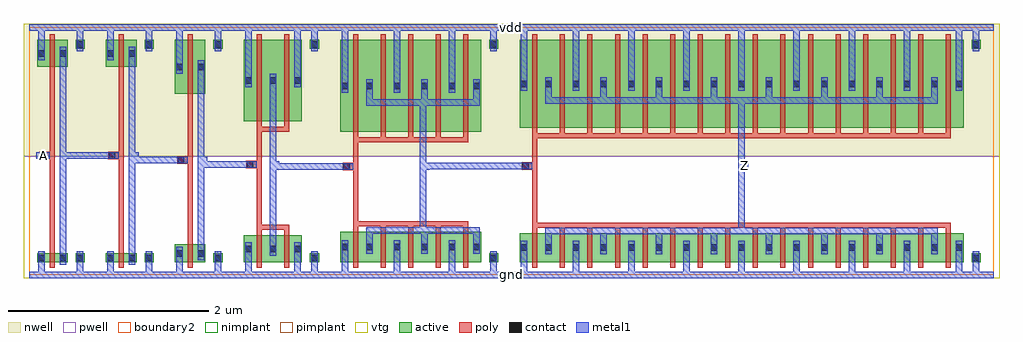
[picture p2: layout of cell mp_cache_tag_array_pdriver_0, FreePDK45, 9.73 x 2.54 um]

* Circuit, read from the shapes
.subckt mp_cache_tag_array_pdriver_0 A Z gnd vdd
M1 mp_cache_tag_array_pinv_6_1/A A gnd gnd nfet w=0.09u l=0.05u
M2 mp_cache_tag_array_pinv_7_2/A mp_cache_tag_array_pinv_6_1/A gnd gnd nfet w=0.09u l=0.05u
M3 mp_cache_tag_array_pinv_8_3/A mp_cache_tag_array_pinv_7_2/A gnd gnd nfet w=0.18u l=0.05u
M4 mp_cache_tag_array_pinv_9_4/A mp_cache_tag_array_pinv_8_3/A gnd gnd nfet w=0.27u l=0.05u m=2
M5 mp_cache_tag_array_pinv_10_5/A mp_cache_tag_array_pinv_9_4/A gnd gnd nfet w=0.305u l=0.05u m=5
M6 Z mp_cache_tag_array_pinv_10_5/A gnd gnd nfet w=0.2925u l=0.05u m=16
M7 mp_cache_tag_array_pinv_6_1/A A vdd vdd pfet w=0.27u l=0.05u
M8 mp_cache_tag_array_pinv_7_2/A mp_cache_tag_array_pinv_6_1/A vdd vdd pfet w=0.27u l=0.05u
M9 mp_cache_tag_array_pinv_8_3/A mp_cache_tag_array_pinv_7_2/A vdd vdd pfet w=0.54u l=0.05u
M10 mp_cache_tag_array_pinv_9_4/A mp_cache_tag_array_pinv_8_3/A vdd vdd pfet w=0.81u l=0.05u m=2
M11 mp_cache_tag_array_pinv_10_5/A mp_cache_tag_array_pinv_9_4/A vdd vdd pfet w=0.9175u l=0.05u m=5
M12 Z mp_cache_tag_array_pinv_10_5/A vdd vdd pfet w=0.8775u l=0.05u m=16
.ends

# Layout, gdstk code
import gdstk
lib = gdstk.Library(unit=1e-6, precision=5e-10)
def R(c, l, rs):  # rectangles x0, y0, x1, y1
    for r in rs: c.add(gdstk.rectangle(r[:2], r[2:], *l))
def A(c, l, x, y, w, h, nx, ny, dx, dy):  # array of equal rectangles
    R(c, l, [(x+i*dx, y+j*dy, x+i*dx+w, y+j*dy+h) for i in range(nx) for j in range(ny)])
active = (1, 0)
pwell = (2, 0)
nwell = (3, 0)
nimplant = (4, 0)
pimplant = (5, 0)
vtg = (6, 0)
poly = (9, 0)
contact = (10, 0)
metal1 = (11, 0)
boundary2 = (239, 0)

mp_cache_tag_array_conta = lib.new_cell('mp_cache_tag_array_contact_11')
R(mp_cache_tag_array_conta, active, [(0,0.0225,0.09,0.1125)])
R(mp_cache_tag_array_conta, nwell, [(-0.055,-0.0325,0.145,0.1675)])
R(mp_cache_tag_array_conta, pimplant, [(0,0.0225,0.09,0.1125)])
R(mp_cache_tag_array_conta, contact, [(0.0125,0.035,0.0775,0.1)])
R(mp_cache_tag_array_conta, metal1, [(0.0125,0,0.0775,0.135)])
R(mp_cache_tag_array_conta, boundary2, [(-0.055,-0.0325,0.145,0.1675)])

mp_cache_tag_array_pmos_ = lib.new_cell('mp_cache_tag_array_pmos_m1_w0_270_sm1_dm1_da_p')
R(mp_cache_tag_array_pmos_, active, [(0,0,0.305,0.27)])
R(mp_cache_tag_array_pmos_, nwell, [(-0.08,-0.08,0.385,0.35)])
R(mp_cache_tag_array_pmos_, pimplant, [(0,0,0.305,0.27)])
R(mp_cache_tag_array_pmos_, vtg, [(-0.08,-0.08,0.385,0.35)])
R(mp_cache_tag_array_pmos_, poly, [(0.1275,-0.055,0.1775,0.325), (0.1275,-0.055,0.1775,0.325)])
R(mp_cache_tag_array_pmos_, metal1, [(0.0125,0.0675,0.0775,0.2025), (0.2275,0.0675,0.2925,0.2025)])
R(mp_cache_tag_array_pmos_, boundary2, [(-0.08,-0.08,0.385,0.35)])
mp_cache_tag_array_pmos_.add(gdstk.Reference(mp_cache_tag_array_conta, (0,0.0675)))
mp_cache_tag_array_pmos_.add(gdstk.Reference(mp_cache_tag_array_conta, (0.215,0.0675)))
mp_cache_tag_array_pmos_.add(gdstk.Label('G', (0.1525,0.135), layer=9, texttype=0))
mp_cache_tag_array_pmos_.add(gdstk.Label('S', (0.045,0.135), layer=11, texttype=0))
mp_cache_tag_array_pmos_.add(gdstk.Label('D', (0.26,0.135), layer=11, texttype=0))

c_mp_cache_tag_array_conta = lib.new_cell('mp_cache_tag_array_contact_10')
R(c_mp_cache_tag_array_conta, active, [(0,0.0225,0.09,0.1125)])
R(c_mp_cache_tag_array_conta, pwell, [(-0.055,-0.0325,0.145,0.1675)])
R(c_mp_cache_tag_array_conta, nimplant, [(0,0.0225,0.09,0.1125)])
R(c_mp_cache_tag_array_conta, contact, [(0.0125,0.035,0.0775,0.1)])
R(c_mp_cache_tag_array_conta, metal1, [(0.0125,0,0.0775,0.135)])
R(c_mp_cache_tag_array_conta, boundary2, [(-0.055,-0.0325,0.145,0.1675)])

mp_cache_tag_array_nmos_ = lib.new_cell('mp_cache_tag_array_nmos_m1_w0_090_sm1_dm1_da_p')
R(mp_cache_tag_array_nmos_, active, [(0,0,0.305,0.09)])
R(mp_cache_tag_array_nmos_, pwell, [(-0.08,-0.08,0.385,0.17)])
R(mp_cache_tag_array_nmos_, nimplant, [(0,0,0.305,0.09)])
R(mp_cache_tag_array_nmos_, vtg, [(-0.08,-0.08,0.385,0.17)])
R(mp_cache_tag_array_nmos_, poly, [(0.1275,-0.055,0.1775,0.145), (0.1275,-0.055,0.1775,0.145)])
R(mp_cache_tag_array_nmos_, metal1, [(0.0125,-0.0225,0.0775,0.1125), (0.2275,-0.0225,0.2925,0.1125)])
R(mp_cache_tag_array_nmos_, boundary2, [(-0.08,-0.08,0.385,0.17)])
mp_cache_tag_array_nmos_.add(gdstk.Reference(c_mp_cache_tag_array_conta, (0,-0.0225)))
mp_cache_tag_array_nmos_.add(gdstk.Reference(c_mp_cache_tag_array_conta, (0.215,-0.0225)))
mp_cache_tag_array_nmos_.add(gdstk.Label('G', (0.1525,0.045), layer=9, texttype=0))
mp_cache_tag_array_nmos_.add(gdstk.Label('S', (0.045,0.045), layer=11, texttype=0))
mp_cache_tag_array_nmos_.add(gdstk.Label('D', (0.26,0.045), layer=11, texttype=0))

c_mp_cache_tag_array_conta_ = lib.new_cell('mp_cache_tag_array_contact_12')
R(c_mp_cache_tag_array_conta_, active, [(0,0.0225,0.09,0.1125)])
R(c_mp_cache_tag_array_conta_, nwell, [(-0.055,-0.0325,0.145,0.1675)])
R(c_mp_cache_tag_array_conta_, nimplant, [(0,0.0225,0.09,0.1125)])
R(c_mp_cache_tag_array_conta_, contact, [(0.0125,0.035,0.0775,0.1)])
R(c_mp_cache_tag_array_conta_, metal1, [(0.0125,0,0.0775,0.135)])
R(c_mp_cache_tag_array_conta_, boundary2, [(-0.055,-0.0325,0.145,0.1675)])

c_mp_cache_tag_array_conta__ = lib.new_cell('mp_cache_tag_array_contact_13')
R(c_mp_cache_tag_array_conta__, active, [(0,0.0225,0.09,0.1125)])
R(c_mp_cache_tag_array_conta__, pwell, [(-0.055,-0.0325,0.145,0.1675)])
R(c_mp_cache_tag_array_conta__, pimplant, [(0,0.0225,0.09,0.1125)])
R(c_mp_cache_tag_array_conta__, contact, [(0.0125,0.035,0.0775,0.1)])
R(c_mp_cache_tag_array_conta__, metal1, [(0.0125,0,0.0775,0.135)])
R(c_mp_cache_tag_array_conta__, boundary2, [(-0.055,-0.0325,0.145,0.1675)])

c_mp_cache_tag_array_conta___ = lib.new_cell('mp_cache_tag_array_contact_14')
R(c_mp_cache_tag_array_conta___, poly, [(0.03,0,0.105,0.075)])
R(c_mp_cache_tag_array_conta___, contact, [(0.035,0.005,0.1,0.07)])
R(c_mp_cache_tag_array_conta___, metal1, [(0,0.005,0.135,0.07)])
R(c_mp_cache_tag_array_conta___, boundary2, [(0,0,0.135,0.075)])

mp_cache_tag_array_pinv_ = lib.new_cell('mp_cache_tag_array_pinv_6')
R(mp_cache_tag_array_pinv_, pwell, [(-0.055,-0.0325,0.7425,1.185)])
R(mp_cache_tag_array_pinv_, nwell, [(-0.055,1.185,0.7425,2.505)])
R(mp_cache_tag_array_pinv_, vtg, [(-0.055,-0.0325,0.7425,1.185), (-0.055,1.185,0.7425,2.505)])
R(mp_cache_tag_array_pinv_, poly, [(0.2075,0.27,0.2575,2.02), (0.14,1.1525,0.2075,1.2275)])
R(mp_cache_tag_array_pinv_, metal1, [(0,-0.0325,0.6875,0.0325), (0.0925,-0.0325,0.1575,0.1025), (0.4775,0,0.5425,0.17), (0.3075,0.1025,0.3725,2.2775), (0.0725,1.1575,0.2075,1.2225), (0.34,1.1575,0.405,1.2225), (0.0925,2.1425,0.1575,2.5025), (0.4775,2.3,0.5425,2.47), (0,2.4375,0.6875,2.5025)])
R(mp_cache_tag_array_pinv_, boundary2, [(0,0,0.6875,2.47), (0,0,0.6875,2.47)])
mp_cache_tag_array_pinv_.add(gdstk.Reference(mp_cache_tag_array_pmos_, (0.08,2.075)))
mp_cache_tag_array_pinv_.add(gdstk.Reference(mp_cache_tag_array_nmos_, (0.08,0.125)))
mp_cache_tag_array_pinv_.add(gdstk.Reference(c_mp_cache_tag_array_conta_, (0.465,2.2325)))
mp_cache_tag_array_pinv_.add(gdstk.Reference(c_mp_cache_tag_array_conta__, (0.465,0.1025)))
mp_cache_tag_array_pinv_.add(gdstk.Reference(c_mp_cache_tag_array_conta___, (0.0725,1.1525)))
mp_cache_tag_array_pinv_.add(gdstk.Label('A', (0.14,1.19), layer=11, texttype=0))
mp_cache_tag_array_pinv_.add(gdstk.Label('Z', (0.3725,1.19), layer=11, texttype=0))
mp_cache_tag_array_pinv_.add(gdstk.Label('gnd', (0.344,0), layer=11, texttype=0))
mp_cache_tag_array_pinv_.add(gdstk.Label('vdd', (0.344,2.47), layer=11, texttype=0))

c_mp_cache_tag_array_pmos_ = lib.new_cell('mp_cache_tag_array_pmos_m1_w0_540_sm1_dm1_da_p')
R(c_mp_cache_tag_array_pmos_, active, [(0,0,0.305,0.54)])
R(c_mp_cache_tag_array_pmos_, nwell, [(-0.08,-0.08,0.385,0.62)])
R(c_mp_cache_tag_array_pmos_, pimplant, [(0,0,0.305,0.54)])
R(c_mp_cache_tag_array_pmos_, vtg, [(-0.08,-0.08,0.385,0.62)])
R(c_mp_cache_tag_array_pmos_, poly, [(0.1275,-0.055,0.1775,0.595), (0.1275,-0.055,0.1775,0.595)])
R(c_mp_cache_tag_array_pmos_, metal1, [(0.0125,0.2025,0.0775,0.3375), (0.2275,0.2025,0.2925,0.3375)])
R(c_mp_cache_tag_array_pmos_, boundary2, [(-0.08,-0.08,0.385,0.62)])
c_mp_cache_tag_array_pmos_.add(gdstk.Reference(mp_cache_tag_array_conta, (0,0.2025)))
c_mp_cache_tag_array_pmos_.add(gdstk.Reference(mp_cache_tag_array_conta, (0.215,0.2025)))
c_mp_cache_tag_array_pmos_.add(gdstk.Label('G', (0.1525,0.27), layer=9, texttype=0))
c_mp_cache_tag_array_pmos_.add(gdstk.Label('S', (0.045,0.27), layer=11, texttype=0))
c_mp_cache_tag_array_pmos_.add(gdstk.Label('D', (0.26,0.27), layer=11, texttype=0))

c_mp_cache_tag_array_nmos_ = lib.new_cell('mp_cache_tag_array_nmos_m1_w0_180_sm1_dm1_da_p')
R(c_mp_cache_tag_array_nmos_, active, [(0,0,0.305,0.18)])
R(c_mp_cache_tag_array_nmos_, pwell, [(-0.08,-0.08,0.385,0.26)])
R(c_mp_cache_tag_array_nmos_, nimplant, [(0,0,0.305,0.18)])
R(c_mp_cache_tag_array_nmos_, vtg, [(-0.08,-0.08,0.385,0.26)])
R(c_mp_cache_tag_array_nmos_, poly, [(0.1275,-0.055,0.1775,0.235), (0.1275,-0.055,0.1775,0.235)])
R(c_mp_cache_tag_array_nmos_, metal1, [(0.0125,0.0225,0.0775,0.1575), (0.2275,0.0225,0.2925,0.1575)])
R(c_mp_cache_tag_array_nmos_, boundary2, [(-0.08,-0.08,0.385,0.26)])
c_mp_cache_tag_array_nmos_.add(gdstk.Reference(c_mp_cache_tag_array_conta, (0,0.0225)))
c_mp_cache_tag_array_nmos_.add(gdstk.Reference(c_mp_cache_tag_array_conta, (0.215,0.0225)))
c_mp_cache_tag_array_nmos_.add(gdstk.Label('G', (0.1525,0.09), layer=9, texttype=0))
c_mp_cache_tag_array_nmos_.add(gdstk.Label('S', (0.045,0.09), layer=11, texttype=0))
c_mp_cache_tag_array_nmos_.add(gdstk.Label('D', (0.26,0.09), layer=11, texttype=0))

c_mp_cache_tag_array_pinv_ = lib.new_cell('mp_cache_tag_array_pinv_7')
R(c_mp_cache_tag_array_pinv_, pwell, [(-0.055,-0.0325,0.7425,1.185)])
R(c_mp_cache_tag_array_pinv_, nwell, [(-0.055,1.185,0.7425,2.505)])
R(c_mp_cache_tag_array_pinv_, vtg, [(-0.055,-0.0325,0.7425,1.185), (-0.055,1.185,0.7425,2.505)])
R(c_mp_cache_tag_array_pinv_, poly, [(0.2075,0.36,0.2575,1.75), (0.14,1.1075,0.2075,1.1825)])
R(c_mp_cache_tag_array_pinv_, metal1, [(0,-0.0325,0.6875,0.0325), (0.0925,-0.0325,0.1575,0.1475), (0.4775,0,0.5425,0.17), (0.3075,0.1475,0.3725,2.1425), (0.0725,1.1125,0.2075,1.1775), (0.34,1.1125,0.405,1.1775), (0.0925,2.0075,0.1575,2.5025), (0.4775,2.3,0.5425,2.47), (0,2.4375,0.6875,2.5025)])
R(c_mp_cache_tag_array_pinv_, boundary2, [(0,0,0.6875,2.47), (0,0,0.6875,2.47)])
c_mp_cache_tag_array_pinv_.add(gdstk.Reference(c_mp_cache_tag_array_pmos_, (0.08,1.805)))
c_mp_cache_tag_array_pinv_.add(gdstk.Reference(c_mp_cache_tag_array_nmos_, (0.08,0.125)))
c_mp_cache_tag_array_pinv_.add(gdstk.Reference(c_mp_cache_tag_array_conta_, (0.465,2.2325)))
c_mp_cache_tag_array_pinv_.add(gdstk.Reference(c_mp_cache_tag_array_conta__, (0.465,0.1025)))
c_mp_cache_tag_array_pinv_.add(gdstk.Reference(c_mp_cache_tag_array_conta___, (0.0725,1.1075)))
c_mp_cache_tag_array_pinv_.add(gdstk.Label('A', (0.14,1.145), layer=11, texttype=0))
c_mp_cache_tag_array_pinv_.add(gdstk.Label('Z', (0.3725,1.145), layer=11, texttype=0))
c_mp_cache_tag_array_pinv_.add(gdstk.Label('gnd', (0.344,0), layer=11, texttype=0))
c_mp_cache_tag_array_pinv_.add(gdstk.Label('vdd', (0.344,2.47), layer=11, texttype=0))

c_mp_cache_tag_array_pmos__ = lib.new_cell('mp_cache_tag_array_pmos_m2_w0_810_sm1_dm1_da_p')
R(c_mp_cache_tag_array_pmos__, active, [(0,0,0.58,0.81)])
R(c_mp_cache_tag_array_pmos__, nwell, [(-0.08,-0.08,0.66,0.89)])
R(c_mp_cache_tag_array_pmos__, pimplant, [(0,0,0.58,0.81)])
R(c_mp_cache_tag_array_pmos__, vtg, [(-0.08,-0.08,0.66,0.89)])
R(c_mp_cache_tag_array_pmos__, poly, [(0.1275,-0.105,0.4525,-0.055), (0.1275,-0.055,0.1775,0.865), (0.4025,-0.055,0.4525,0.865)])
A(c_mp_cache_tag_array_pmos__, metal1, 0.0125, 0.3375, 0.065, 0.135, 3, 1, 0.245, 0)
R(c_mp_cache_tag_array_pmos__, boundary2, [(-0.08,-0.105,0.66,0.89)])
c_mp_cache_tag_array_pmos__.add(gdstk.Reference(mp_cache_tag_array_conta, (0,0.3375)))
c_mp_cache_tag_array_pmos__.add(gdstk.Reference(mp_cache_tag_array_conta, (0.245,0.3375)))
c_mp_cache_tag_array_pmos__.add(gdstk.Reference(mp_cache_tag_array_conta, (0.49,0.3375)))
c_mp_cache_tag_array_pmos__.add(gdstk.Label('G', (0.29,-0.08), layer=9, texttype=0))
c_mp_cache_tag_array_pmos__.add(gdstk.Label('S', (0.045,0.405), layer=11, texttype=0))
c_mp_cache_tag_array_pmos__.add(gdstk.Label('S', (0.535,0.405), layer=11, texttype=0))
c_mp_cache_tag_array_pmos__.add(gdstk.Label('D', (0.29,0.405), layer=11, texttype=0))

c_mp_cache_tag_array_nmos__ = lib.new_cell('mp_cache_tag_array_nmos_m2_w0_270_sm1_dm1_da_p')
R(c_mp_cache_tag_array_nmos__, active, [(0,0,0.58,0.27)])
R(c_mp_cache_tag_array_nmos__, pwell, [(-0.08,-0.08,0.66,0.35)])
R(c_mp_cache_tag_array_nmos__, nimplant, [(0,0,0.58,0.27)])
R(c_mp_cache_tag_array_nmos__, vtg, [(-0.08,-0.08,0.66,0.35)])
R(c_mp_cache_tag_array_nmos__, poly, [(0.1275,-0.055,0.1775,0.325), (0.4025,-0.055,0.4525,0.325), (0.1275,0.325,0.4525,0.375)])
A(c_mp_cache_tag_array_nmos__, metal1, 0.0125, 0.0675, 0.065, 0.135, 3, 1, 0.245, 0)
R(c_mp_cache_tag_array_nmos__, boundary2, [(-0.08,-0.08,0.66,0.375)])
c_mp_cache_tag_array_nmos__.add(gdstk.Reference(c_mp_cache_tag_array_conta, (0,0.0675)))
c_mp_cache_tag_array_nmos__.add(gdstk.Reference(c_mp_cache_tag_array_conta, (0.245,0.0675)))
c_mp_cache_tag_array_nmos__.add(gdstk.Reference(c_mp_cache_tag_array_conta, (0.49,0.0675)))
c_mp_cache_tag_array_nmos__.add(gdstk.Label('G', (0.29,0.35), layer=9, texttype=0))
c_mp_cache_tag_array_nmos__.add(gdstk.Label('S', (0.535,0.135), layer=11, texttype=0))
c_mp_cache_tag_array_nmos__.add(gdstk.Label('S', (0.045,0.135), layer=11, texttype=0))
c_mp_cache_tag_array_nmos__.add(gdstk.Label('D', (0.29,0.135), layer=11, texttype=0))

c_mp_cache_tag_array_pinv__ = lib.new_cell('mp_cache_tag_array_pinv_8')
R(c_mp_cache_tag_array_pinv__, pwell, [(-0.055,-0.0325,1.0175,1.185)])
R(c_mp_cache_tag_array_pinv__, nwell, [(-0.055,1.185,1.0175,2.505)])
R(c_mp_cache_tag_array_pinv__, vtg, [(-0.055,-0.0325,1.0175,1.185), (-0.055,1.185,1.0175,2.505)])
R(c_mp_cache_tag_array_pinv__, poly, [(0.2075,0.5,0.2575,1.43), (0.14,1.0625,0.2075,1.1375)])
R(c_mp_cache_tag_array_pinv__, metal1, [(0,-0.0325,0.9625,0.0325), (0.0925,-0.0325,0.1575,0.1925), (0.5825,-0.0325,0.6475,0.1925), (0.7525,0,0.8175,0.17), (0.3375,0.1925,0.4025,2.0075), (0.0725,1.0675,0.2075,1.1325), (0.37,1.0675,0.435,1.1325), (0.0925,1.8725,0.1575,2.5025), (0.5825,1.8725,0.6475,2.5025), (0.7525,2.3,0.8175,2.47), (0,2.4375,0.9625,2.5025)])
R(c_mp_cache_tag_array_pinv__, boundary2, [(0,0,0.9625,2.47), (0,0,0.9625,2.47)])
c_mp_cache_tag_array_pinv__.add(gdstk.Reference(c_mp_cache_tag_array_pmos__, (0.08,1.535)))
c_mp_cache_tag_array_pinv__.add(gdstk.Reference(c_mp_cache_tag_array_nmos__, (0.08,0.125)))
c_mp_cache_tag_array_pinv__.add(gdstk.Reference(c_mp_cache_tag_array_conta_, (0.74,2.2325)))
c_mp_cache_tag_array_pinv__.add(gdstk.Reference(c_mp_cache_tag_array_conta__, (0.74,0.1025)))
c_mp_cache_tag_array_pinv__.add(gdstk.Reference(c_mp_cache_tag_array_conta___, (0.0725,1.0625)))
c_mp_cache_tag_array_pinv__.add(gdstk.Label('A', (0.14,1.1), layer=11, texttype=0))
c_mp_cache_tag_array_pinv__.add(gdstk.Label('Z', (0.4025,1.1), layer=11, texttype=0))
c_mp_cache_tag_array_pinv__.add(gdstk.Label('gnd', (0.481,0), layer=11, texttype=0))
c_mp_cache_tag_array_pinv__.add(gdstk.Label('vdd', (0.481,2.47), layer=11, texttype=0))

c_mp_cache_tag_array_pmos___ = lib.new_cell('mp_cache_tag_array_pmos_m5_w0_917_sm1_dm1_da_p')
R(c_mp_cache_tag_array_pmos___, active, [(0,0,1.405,0.9175)])
R(c_mp_cache_tag_array_pmos___, nwell, [(-0.08,-0.08,1.485,0.9975)])
R(c_mp_cache_tag_array_pmos___, pimplant, [(0,0,1.405,0.9175)])
R(c_mp_cache_tag_array_pmos___, vtg, [(-0.08,-0.08,1.485,0.9975)])
A(c_mp_cache_tag_array_pmos___, poly, 0.1275, -0.055, 0.05, 1.0275, 5, 1, 0.275, 0)
R(c_mp_cache_tag_array_pmos___, poly, [(0.1275,-0.105,1.2775,-0.055)])
R(c_mp_cache_tag_array_pmos___, metal1, [(0.2575,0.26,1.3925,0.325), (0.2575,0.295,0.3225,0.46), (0.8075,0.295,0.8725,0.46), (1.3275,0.295,1.3925,0.46), (0.0125,0.39,0.0775,0.525), (0.5325,0.39,0.5975,0.525), (1.0825,0.39,1.1475,0.525)])
R(c_mp_cache_tag_array_pmos___, boundary2, [(-0.08,-0.105,1.485,0.9975)])
c_mp_cache_tag_array_pmos___.add(gdstk.Reference(mp_cache_tag_array_conta, (0,0.39)))
c_mp_cache_tag_array_pmos___.add(gdstk.Reference(mp_cache_tag_array_conta, (0.245,0.39)))
c_mp_cache_tag_array_pmos___.add(gdstk.Reference(mp_cache_tag_array_conta, (0.52,0.39)))
c_mp_cache_tag_array_pmos___.add(gdstk.Reference(mp_cache_tag_array_conta, (0.795,0.39)))
c_mp_cache_tag_array_pmos___.add(gdstk.Reference(mp_cache_tag_array_conta, (1.07,0.39)))
c_mp_cache_tag_array_pmos___.add(gdstk.Reference(mp_cache_tag_array_conta, (1.315,0.39)))
c_mp_cache_tag_array_pmos___.add(gdstk.Label('G', (0.7025,-0.08), layer=9, texttype=0))
c_mp_cache_tag_array_pmos___.add(gdstk.Label('S', (1.115,0.4575), layer=11, texttype=0))
c_mp_cache_tag_array_pmos___.add(gdstk.Label('S', (0.045,0.4575), layer=11, texttype=0))
c_mp_cache_tag_array_pmos___.add(gdstk.Label('S', (0.565,0.4575), layer=11, texttype=0))
c_mp_cache_tag_array_pmos___.add(gdstk.Label('D', (0.825,0.2925), layer=11, texttype=0))

c_mp_cache_tag_array_nmos___ = lib.new_cell('mp_cache_tag_array_nmos_m5_w0_305_sm1_dm1_da_p')
R(c_mp_cache_tag_array_nmos___, active, [(0,0,1.405,0.305)])
R(c_mp_cache_tag_array_nmos___, pwell, [(-0.08,-0.08,1.485,0.385)])
R(c_mp_cache_tag_array_nmos___, nimplant, [(0,0,1.405,0.305)])
R(c_mp_cache_tag_array_nmos___, vtg, [(-0.08,-0.08,1.485,0.385)])
A(c_mp_cache_tag_array_nmos___, poly, 0.1275, -0.055, 0.05, 0.415, 5, 1, 0.275, 0)
R(c_mp_cache_tag_array_nmos___, poly, [(0.1275,0.36,1.2775,0.41)])
R(c_mp_cache_tag_array_nmos___, metal1, [(0.0125,0.085,0.0775,0.22), (0.5325,0.085,0.5975,0.22), (1.0825,0.085,1.1475,0.22), (0.2575,0.1525,0.3225,0.3175), (0.8075,0.1525,0.8725,0.3175), (1.3275,0.1525,1.3925,0.3175), (0.2575,0.285,1.3925,0.35)])
R(c_mp_cache_tag_array_nmos___, boundary2, [(-0.08,-0.08,1.485,0.41)])
c_mp_cache_tag_array_nmos___.add(gdstk.Reference(c_mp_cache_tag_array_conta, (0,0.085)))
c_mp_cache_tag_array_nmos___.add(gdstk.Reference(c_mp_cache_tag_array_conta, (0.245,0.085)))
c_mp_cache_tag_array_nmos___.add(gdstk.Reference(c_mp_cache_tag_array_conta, (0.52,0.085)))
c_mp_cache_tag_array_nmos___.add(gdstk.Reference(c_mp_cache_tag_array_conta, (0.795,0.085)))
c_mp_cache_tag_array_nmos___.add(gdstk.Reference(c_mp_cache_tag_array_conta, (1.07,0.085)))
c_mp_cache_tag_array_nmos___.add(gdstk.Reference(c_mp_cache_tag_array_conta, (1.315,0.085)))
c_mp_cache_tag_array_nmos___.add(gdstk.Label('G', (0.7025,0.385), layer=9, texttype=0))
c_mp_cache_tag_array_nmos___.add(gdstk.Label('S', (1.115,0.1525), layer=11, texttype=0))
c_mp_cache_tag_array_nmos___.add(gdstk.Label('S', (0.045,0.1525), layer=11, texttype=0))
c_mp_cache_tag_array_nmos___.add(gdstk.Label('S', (0.565,0.1525), layer=11, texttype=0))
c_mp_cache_tag_array_nmos___.add(gdstk.Label('D', (0.825,0.3175), layer=11, texttype=0))

c_mp_cache_tag_array_pinv___ = lib.new_cell('mp_cache_tag_array_pinv_9')
R(c_mp_cache_tag_array_pinv___, pwell, [(-0.055,-0.0325,1.8425,1.185)])
R(c_mp_cache_tag_array_pinv___, nwell, [(-0.055,1.185,1.8425,2.505)])
R(c_mp_cache_tag_array_pinv___, vtg, [(-0.055,-0.0325,1.8425,1.185), (-0.055,1.185,1.8425,2.505)])
R(c_mp_cache_tag_array_pinv___, poly, [(0.2075,0.535,0.2575,1.3225), (0.14,1.045,0.2075,1.12)])
R(c_mp_cache_tag_array_pinv___, metal1, [(0,-0.0325,1.7875,0.0325), (0.0925,-0.0325,0.1575,0.21), (0.6125,-0.0325,0.6775,0.21), (1.1625,-0.0325,1.2275,0.21), (1.5775,0,1.6425,0.17), (0.8725,0.41,0.9375,1.7525), (0.0725,1.05,0.2075,1.115), (0.905,1.05,0.97,1.115), (0.0925,1.8175,0.1575,2.5025), (0.6125,1.8175,0.6775,2.5025), (1.1625,1.8175,1.2275,2.5025), (1.5775,2.3,1.6425,2.47), (0,2.4375,1.7875,2.5025)])
R(c_mp_cache_tag_array_pinv___, boundary2, [(0,0,1.7875,2.47), (0,0,1.7875,2.47)])
c_mp_cache_tag_array_pinv___.add(gdstk.Reference(c_mp_cache_tag_array_pmos___, (0.08,1.4275)))
c_mp_cache_tag_array_pinv___.add(gdstk.Reference(c_mp_cache_tag_array_nmos___, (0.08,0.125)))
c_mp_cache_tag_array_pinv___.add(gdstk.Reference(c_mp_cache_tag_array_conta_, (1.565,2.2325)))
c_mp_cache_tag_array_pinv___.add(gdstk.Reference(c_mp_cache_tag_array_conta__, (1.565,0.1025)))
c_mp_cache_tag_array_pinv___.add(gdstk.Reference(c_mp_cache_tag_array_conta___, (0.0725,1.045)))
c_mp_cache_tag_array_pinv___.add(gdstk.Label('A', (0.14,1.0825), layer=11, texttype=0))
c_mp_cache_tag_array_pinv___.add(gdstk.Label('Z', (0.9375,1.0825), layer=11, texttype=0))
c_mp_cache_tag_array_pinv___.add(gdstk.Label('gnd', (0.894,0), layer=11, texttype=0))
c_mp_cache_tag_array_pinv___.add(gdstk.Label('vdd', (0.894,2.47), layer=11, texttype=0))

c_mp_cache_tag_array_pmos____ = lib.new_cell('mp_cache_tag_array_pmos_m16_w0_878_sm1_dm1_da_p')
R(c_mp_cache_tag_array_pmos____, active, [(0,0,4.43,0.8775)])
R(c_mp_cache_tag_array_pmos____, nwell, [(-0.08,-0.08,4.51,0.9575)])
R(c_mp_cache_tag_array_pmos____, pimplant, [(0,0,4.43,0.8775)])
R(c_mp_cache_tag_array_pmos____, vtg, [(-0.08,-0.08,4.51,0.9575)])
A(c_mp_cache_tag_array_pmos____, poly, 0.1275, -0.055, 0.05, 0.9875, 16, 1, 0.275, 0)
R(c_mp_cache_tag_array_pmos____, poly, [(0.1275,-0.105,4.3025,-0.055)])
A(c_mp_cache_tag_array_pmos____, metal1, 0.2575, 0.275, 0.065, 0.165, 8, 1, 0.55, 0)
A(c_mp_cache_tag_array_pmos____, metal1, 0.5325, 0.37, 0.065, 0.135, 7, 1, 0.55, 0)
R(c_mp_cache_tag_array_pmos____, metal1, [(0.2575,0.24,4.1725,0.305), (0.0125,0.37,0.0775,0.505), (4.3525,0.37,4.4175,0.505)])
R(c_mp_cache_tag_array_pmos____, boundary2, [(-0.08,-0.105,4.51,0.9575)])
c_mp_cache_tag_array_pmos____.add(gdstk.Reference(mp_cache_tag_array_conta, (0,0.37)))
c_mp_cache_tag_array_pmos____.add(gdstk.Reference(mp_cache_tag_array_conta, (0.245,0.37)))
c_mp_cache_tag_array_pmos____.add(gdstk.Reference(mp_cache_tag_array_conta, (0.52,0.37)))
c_mp_cache_tag_array_pmos____.add(gdstk.Reference(mp_cache_tag_array_conta, (0.795,0.37)))
c_mp_cache_tag_array_pmos____.add(gdstk.Reference(mp_cache_tag_array_conta, (1.07,0.37)))
c_mp_cache_tag_array_pmos____.add(gdstk.Reference(mp_cache_tag_array_conta, (1.345,0.37)))
c_mp_cache_tag_array_pmos____.add(gdstk.Reference(mp_cache_tag_array_conta, (1.62,0.37)))
c_mp_cache_tag_array_pmos____.add(gdstk.Reference(mp_cache_tag_array_conta, (1.895,0.37)))
c_mp_cache_tag_array_pmos____.add(gdstk.Reference(mp_cache_tag_array_conta, (2.17,0.37)))
c_mp_cache_tag_array_pmos____.add(gdstk.Reference(mp_cache_tag_array_conta, (2.445,0.37)))
c_mp_cache_tag_array_pmos____.add(gdstk.Reference(mp_cache_tag_array_conta, (2.72,0.37)))
c_mp_cache_tag_array_pmos____.add(gdstk.Reference(mp_cache_tag_array_conta, (2.995,0.37)))
c_mp_cache_tag_array_pmos____.add(gdstk.Reference(mp_cache_tag_array_conta, (3.27,0.37)))
c_mp_cache_tag_array_pmos____.add(gdstk.Reference(mp_cache_tag_array_conta, (3.545,0.37)))
c_mp_cache_tag_array_pmos____.add(gdstk.Reference(mp_cache_tag_array_conta, (3.82,0.37)))
c_mp_cache_tag_array_pmos____.add(gdstk.Reference(mp_cache_tag_array_conta, (4.095,0.37)))
c_mp_cache_tag_array_pmos____.add(gdstk.Reference(mp_cache_tag_array_conta, (4.34,0.37)))
c_mp_cache_tag_array_pmos____.add(gdstk.Label('G', (2.215,-0.08), layer=9, texttype=0))
c_mp_cache_tag_array_pmos____.add(gdstk.Label('S', (2.765,0.4375), layer=11, texttype=0))
c_mp_cache_tag_array_pmos____.add(gdstk.Label('S', (0.045,0.4375), layer=11, texttype=0))
c_mp_cache_tag_array_pmos____.add(gdstk.Label('S', (0.565,0.4375), layer=11, texttype=0))
c_mp_cache_tag_array_pmos____.add(gdstk.Label('S', (3.315,0.4375), layer=11, texttype=0))
c_mp_cache_tag_array_pmos____.add(gdstk.Label('S', (1.665,0.4375), layer=11, texttype=0))
c_mp_cache_tag_array_pmos____.add(gdstk.Label('S', (4.385,0.4375), layer=11, texttype=0))
c_mp_cache_tag_array_pmos____.add(gdstk.Label('S', (2.215,0.4375), layer=11, texttype=0))
c_mp_cache_tag_array_pmos____.add(gdstk.Label('S', (1.115,0.4375), layer=11, texttype=0))
c_mp_cache_tag_array_pmos____.add(gdstk.Label('S', (3.865,0.4375), layer=11, texttype=0))
c_mp_cache_tag_array_pmos____.add(gdstk.Label('D', (2.215,0.2725), layer=11, texttype=0))

c_mp_cache_tag_array_nmos____ = lib.new_cell('mp_cache_tag_array_nmos_m16_w0_292_sm1_dm1_da_p')
R(c_mp_cache_tag_array_nmos____, active, [(0,0,4.43,0.2925)])
R(c_mp_cache_tag_array_nmos____, pwell, [(-0.08,-0.08,4.51,0.3725)])
R(c_mp_cache_tag_array_nmos____, nimplant, [(0,0,4.43,0.2925)])
R(c_mp_cache_tag_array_nmos____, vtg, [(-0.08,-0.08,4.51,0.3725)])
A(c_mp_cache_tag_array_nmos____, poly, 0.1275, -0.055, 0.05, 0.4025, 16, 1, 0.275, 0)
R(c_mp_cache_tag_array_nmos____, poly, [(0.1275,0.3475,4.3025,0.3975)])
A(c_mp_cache_tag_array_nmos____, metal1, 0.5325, 0.08, 0.065, 0.135, 7, 1, 0.55, 0)
A(c_mp_cache_tag_array_nmos____, metal1, 0.2575, 0.145, 0.065, 0.165, 8, 1, 0.55, 0)
R(c_mp_cache_tag_array_nmos____, metal1, [(0.0125,0.08,0.0775,0.215), (4.3525,0.08,4.4175,0.215), (0.2575,0.28,4.1725,0.345)])
R(c_mp_cache_tag_array_nmos____, boundary2, [(-0.08,-0.08,4.51,0.3975)])
c_mp_cache_tag_array_nmos____.add(gdstk.Reference(c_mp_cache_tag_array_conta, (0,0.08)))
c_mp_cache_tag_array_nmos____.add(gdstk.Reference(c_mp_cache_tag_array_conta, (0.245,0.08)))
c_mp_cache_tag_array_nmos____.add(gdstk.Reference(c_mp_cache_tag_array_conta, (0.52,0.08)))
c_mp_cache_tag_array_nmos____.add(gdstk.Reference(c_mp_cache_tag_array_conta, (0.795,0.08)))
c_mp_cache_tag_array_nmos____.add(gdstk.Reference(c_mp_cache_tag_array_conta, (1.07,0.08)))
c_mp_cache_tag_array_nmos____.add(gdstk.Reference(c_mp_cache_tag_array_conta, (1.345,0.08)))
c_mp_cache_tag_array_nmos____.add(gdstk.Reference(c_mp_cache_tag_array_conta, (1.62,0.08)))
c_mp_cache_tag_array_nmos____.add(gdstk.Reference(c_mp_cache_tag_array_conta, (1.895,0.08)))
c_mp_cache_tag_array_nmos____.add(gdstk.Reference(c_mp_cache_tag_array_conta, (2.17,0.08)))
c_mp_cache_tag_array_nmos____.add(gdstk.Reference(c_mp_cache_tag_array_conta, (2.445,0.08)))
c_mp_cache_tag_array_nmos____.add(gdstk.Reference(c_mp_cache_tag_array_conta, (2.72,0.08)))
c_mp_cache_tag_array_nmos____.add(gdstk.Reference(c_mp_cache_tag_array_conta, (2.995,0.08)))
c_mp_cache_tag_array_nmos____.add(gdstk.Reference(c_mp_cache_tag_array_conta, (3.27,0.08)))
c_mp_cache_tag_array_nmos____.add(gdstk.Reference(c_mp_cache_tag_array_conta, (3.545,0.08)))
c_mp_cache_tag_array_nmos____.add(gdstk.Reference(c_mp_cache_tag_array_conta, (3.82,0.08)))
c_mp_cache_tag_array_nmos____.add(gdstk.Reference(c_mp_cache_tag_array_conta, (4.095,0.08)))
c_mp_cache_tag_array_nmos____.add(gdstk.Reference(c_mp_cache_tag_array_conta, (4.34,0.08)))
c_mp_cache_tag_array_nmos____.add(gdstk.Label('G', (2.215,0.3725), layer=9, texttype=0))
c_mp_cache_tag_array_nmos____.add(gdstk.Label('S', (3.865,0.1475), layer=11, texttype=0))
c_mp_cache_tag_array_nmos____.add(gdstk.Label('S', (3.315,0.1475), layer=11, texttype=0))
c_mp_cache_tag_array_nmos____.add(gdstk.Label('S', (0.565,0.1475), layer=11, texttype=0))
c_mp_cache_tag_array_nmos____.add(gdstk.Label('S', (1.115,0.1475), layer=11, texttype=0))
c_mp_cache_tag_array_nmos____.add(gdstk.Label('S', (0.045,0.1475), layer=11, texttype=0))
c_mp_cache_tag_array_nmos____.add(gdstk.Label('S', (4.385,0.1475), layer=11, texttype=0))
c_mp_cache_tag_array_nmos____.add(gdstk.Label('S', (2.765,0.1475), layer=11, texttype=0))
c_mp_cache_tag_array_nmos____.add(gdstk.Label('S', (2.215,0.1475), layer=11, texttype=0))
c_mp_cache_tag_array_nmos____.add(gdstk.Label('S', (1.665,0.1475), layer=11, texttype=0))
c_mp_cache_tag_array_nmos____.add(gdstk.Label('D', (2.215,0.3125), layer=11, texttype=0))

c_mp_cache_tag_array_pinv____ = lib.new_cell('mp_cache_tag_array_pinv_10')
R(c_mp_cache_tag_array_pinv____, pwell, [(-0.055,-0.0325,4.8675,1.185)])
R(c_mp_cache_tag_array_pinv____, nwell, [(-0.055,1.185,4.8675,2.505)])
R(c_mp_cache_tag_array_pinv____, vtg, [(-0.055,-0.0325,4.8675,1.185), (-0.055,1.185,4.8675,2.505)])
R(c_mp_cache_tag_array_pinv____, poly, [(0.2075,0.5225,0.2575,1.3625), (0.14,1.05,0.2075,1.125)])
A(c_mp_cache_tag_array_pinv____, metal1, 0.6125, -0.0325, 0.065, 0.2375, 7, 1, 0.55, 0)
A(c_mp_cache_tag_array_pinv____, metal1, 0.6125, 1.8375, 0.065, 0.665, 7, 1, 0.55, 0)
R(c_mp_cache_tag_array_pinv____, metal1, [(0,-0.0325,4.8125,0.0325), (0.0925,-0.0325,0.1575,0.205), (4.4325,-0.0325,4.4975,0.205), (4.6025,0,4.6675,0.17), (2.2625,0.405,2.3275,1.7725), (0.0725,1.055,0.2075,1.12), (2.295,1.055,2.36,1.12), (0.0925,1.8375,0.1575,2.5025), (4.4325,1.8375,4.4975,2.5025), (4.6025,2.3,4.6675,2.47), (0,2.4375,4.8125,2.5025)])
R(c_mp_cache_tag_array_pinv____, boundary2, [(0,0,4.8125,2.47), (0,0,4.8125,2.47)])
c_mp_cache_tag_array_pinv____.add(gdstk.Reference(c_mp_cache_tag_array_pmos____, (0.08,1.4675)))
c_mp_cache_tag_array_pinv____.add(gdstk.Reference(c_mp_cache_tag_array_nmos____, (0.08,0.125)))
c_mp_cache_tag_array_pinv____.add(gdstk.Reference(c_mp_cache_tag_array_conta_, (4.59,2.2325)))
c_mp_cache_tag_array_pinv____.add(gdstk.Reference(c_mp_cache_tag_array_conta__, (4.59,0.1025)))
c_mp_cache_tag_array_pinv____.add(gdstk.Reference(c_mp_cache_tag_array_conta___, (0.0725,1.05)))
c_mp_cache_tag_array_pinv____.add(gdstk.Label('A', (0.14,1.0875), layer=11, texttype=0))
c_mp_cache_tag_array_pinv____.add(gdstk.Label('Z', (2.3275,1.0875), layer=11, texttype=0))
c_mp_cache_tag_array_pinv____.add(gdstk.Label('gnd', (2.406,0), layer=11, texttype=0))
c_mp_cache_tag_array_pinv____.add(gdstk.Label('vdd', (2.406,2.47), layer=11, texttype=0))

mp_cache_tag_array_pdriv = lib.new_cell('mp_cache_tag_array_pdriver_0')
R(mp_cache_tag_array_pdriv, pwell, [(-0.055,-0.0325,9.68,1.185)])
R(mp_cache_tag_array_pdriv, nwell, [(-0.055,1.185,9.68,2.505)])
R(mp_cache_tag_array_pdriv, vtg, [(-0.055,-0.0325,9.68,1.185), (-0.055,1.185,9.68,2.505)])
R(mp_cache_tag_array_pdriv, metal1, [(0,-0.0325,9.625,0.0325), (2.4325,1.05,2.4975,1.115), (2.465,1.05,3.165,1.115), (3.93,1.055,3.995,1.12), (3.9625,1.055,4.9525,1.12), (7.1075,1.055,7.1725,1.12), (1.715,1.0675,1.78,1.1325), (1.7475,1.0675,2.2025,1.1325), (2.4325,1.0825,2.4975,1.1), (3.93,1.0825,3.995,1.0875), (1.715,1.1,1.78,1.145), (1.0275,1.1125,1.0925,1.1775), (1.06,1.1125,1.515,1.1775), (1.0275,1.145,1.0925,1.19), (0.0725,1.1575,0.2075,1.2225), (0.3725,1.1575,0.8275,1.2225), (0,2.4375,9.625,2.5025)])
R(mp_cache_tag_array_pdriv, boundary2, [(0,0,9.625,2.47), (0,0,9.625,2.47)])
mp_cache_tag_array_pdriv.add(gdstk.Reference(mp_cache_tag_array_pinv_, (0,0)))
mp_cache_tag_array_pdriv.add(gdstk.Reference(mp_cache_tag_array_pinv_, (0.6875,0)))
mp_cache_tag_array_pdriv.add(gdstk.Reference(c_mp_cache_tag_array_pinv_, (1.375,0)))
mp_cache_tag_array_pdriv.add(gdstk.Reference(c_mp_cache_tag_array_pinv__, (2.0625,0)))
mp_cache_tag_array_pdriv.add(gdstk.Reference(c_mp_cache_tag_array_pinv___, (3.025,0)))
mp_cache_tag_array_pdriv.add(gdstk.Reference(c_mp_cache_tag_array_pinv____, (4.8125,0)))
mp_cache_tag_array_pdriv.add(gdstk.Label('Z', (7.14,1.0875), layer=11, texttype=0))
mp_cache_tag_array_pdriv.add(gdstk.Label('A', (0.14,1.19), layer=11, texttype=0))
mp_cache_tag_array_pdriv.add(gdstk.Label('gnd', (4.8125,0), layer=11, texttype=0))
mp_cache_tag_array_pdriv.add(gdstk.Label('vdd', (4.8125,2.47), layer=11, texttype=0))

lib.write_gds('mp_cache_tag_array_pdriver_0.gds')
